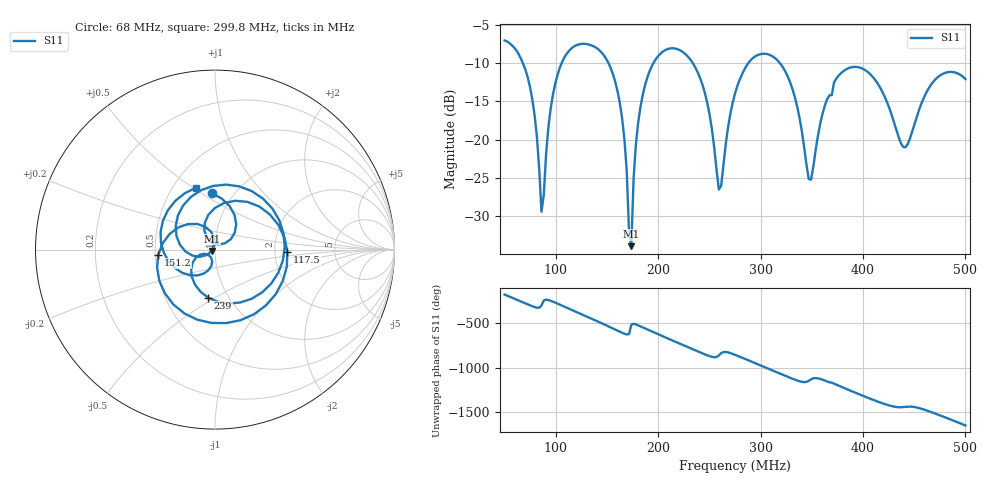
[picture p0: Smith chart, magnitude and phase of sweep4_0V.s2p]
!Agilent Technologies,E8364B,US42250162,A.07.50.67
!Agilent E8364B: A.07.50.67
!Date: Friday, June 23, 2023 16:13:34
!Correction: S11(Off)
!S21(Off)
!S12(Off)
!S22(Off)
!S2P File: Measurements: S11, S21, S12, S22:
# Hz S  RI  R 50
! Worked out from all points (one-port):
!   201 points, 50 MHz to 500 MHz, reference 50 ohm
!   lowest |S11| = -33.9 dB at 173.8 MHz (marker M1), VSWR 1.04, Z = 48.2 - j0.742 ohm
!   |S11| at or under -10 dB: 151.3 MHz to 195.5 MHz (44.16 MHz wide, 25.5 % of centre); 233.6 MHz to 288.2 MHz (54.58 MHz wide, 20.9 % of centre); 318.6 MHz to end of sweep (the widest 3 of 4)
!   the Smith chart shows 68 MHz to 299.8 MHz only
!   S11 on the Smith chart (normalised r, x): 68 MHz: 0.80, +0.55; 117.5 MHz: 2.35, -0.08; 151.2 MHz: 0.52, -0.03; 239 MHz: 0.81, -0.47; 299.8 MHz: 0.65, +0.51
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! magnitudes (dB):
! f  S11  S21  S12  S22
! 50 MHz  -7.1  -  -  -
! 68 MHz  -10.1  -  -  -
! 79.25 MHz  -16.8  -  -  -
! 86 MHz  -29.4  -  -  -
! 97.25 MHz  -14.1  -  -  -
! 117.5 MHz  -7.9  -  -  -
! 126.5 MHz  -7.5  -  -  -
! 151.2 MHz  -10.0  -  -  -
! 164.8 MHz  -17.2  -  -  -
! 173.8 MHz  -33.9  -  -  -
! 180.5 MHz  -17.7  -  -  -
! 200.8 MHz  -9.0  -  -  -
! 239 MHz  -11.4  -  -  -
! 259.2 MHz  -26.5  -  -  -
! 275 MHz  -14.0  -  -  -
! 299.8 MHz  -8.9  -  -  -
! 326.8 MHz  -11.8  -  -  -
! 351.5 MHz  -23.5  -  -  -
! 380.8 MHz  -11.1  -  -  -
! 425.8 MHz  -15.9  -  -  -
! 441.5 MHz  -21.0  -  -  -
! 500 MHz  -12.1  -  -  -
